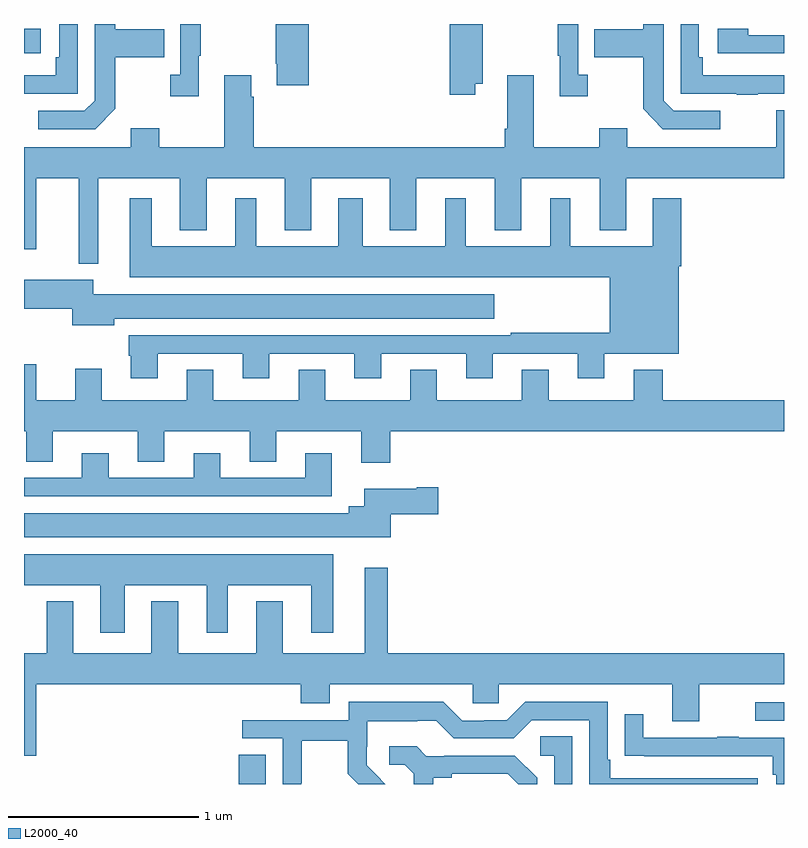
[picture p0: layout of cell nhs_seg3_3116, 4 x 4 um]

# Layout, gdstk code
import gdstk
lib = gdstk.Library(unit=1e-6, precision=1e-09)
def R(c, l, rs):  # rectangles x0, y0, x1, y1
    for r in rs: c.add(gdstk.rectangle(r[:2], r[2:], *l))
def P(c, l, *ps):  # polygons
    for p in ps: c.add(gdstk.Polygon(p, *l))
L2000_40 = (2000, 40)

nhs_seg3_3116 = lib.new_cell('nhs_seg3_3116')
R(nhs_seg3_3116, L2000_40, [(274.13,692.4,274.273,692.555), (276.849,692.733,277,692.829), (273,696.246,273.088,696.376)])
P(nhs_seg3_3116, L2000_40, [(274.499,696.4),(274.324,696.4),(274.324,696.19),(274.331,696.19),(274.331,696.078),(274.499,696.078)],
  [(275.968,696.134),(275.916,696.134),(275.916,696.4),(275.808,696.4),(275.808,696.233),(275.819,696.233),(275.819,696.021),(275.968,696.021)],
  [(276.664,695.943),(276.42,695.943),(276.366,695.997),(276.366,696.4),(276.258,696.4),(276.258,696.373),(276.001,696.373),(276.001,696.226),(276.258,696.226),(276.258,695.953),(276.363,695.847),(276.664,695.847)],
  [(276.863,696.033),(277,696.033),(277,696.129),(276.572,696.129),(276.572,696.226),(276.552,696.226),(276.552,696.4),(276.456,696.4),(276.456,696.033),(276.751,696.033),(276.751,696.028),(276.863,696.028)],
  [(275.374,696.086),(275.415,696.086),(275.415,696.4),(275.24,696.4),(275.24,696.027),(275.374,696.027)],
  [(273.919,696.233),(273.931,696.233),(273.931,696.4),(273.822,696.4),(273.822,696.134),(273.771,696.134),(273.771,696.021),(273.919,696.021)],
  [(273.481,695.953),(273.481,696.226),(273.737,696.226),(273.737,696.373),(273.481,696.373),(273.481,696.4),(273.372,696.4),(273.372,695.997),(273.318,695.943),(273.075,695.943),(273.075,695.847),(273.375,695.847)],
  [(273.282,696.4),(273.186,696.4),(273.186,696.226),(273.166,696.226),(273.166,696.129),(273,696.129),(273,696.033),(273.282,696.033)],
  [(277,696.342),(276.812,696.342),(276.812,696.376),(276.651,696.376),(276.651,696.246),(277,696.246)],
  [(273.391,695.588),(273.821,695.588),(273.821,695.315),(273.961,695.315),(273.961,695.588),(274.373,695.588),(274.373,695.315),(274.513,695.315),(274.513,695.588),(274.925,695.588),(274.925,695.315),(275.065,695.315),(275.065,695.588),(275.477,695.588),(275.477,695.315),(275.617,695.315),(275.617,695.588),(276.029,695.588),(276.029,695.315),(276.169,695.315),(276.169,695.588),(277,695.588),(277,695.947),(276.959,695.947),(276.959,695.752),(276.175,695.752),(276.175,695.851),(276.028,695.851),(276.028,695.752),(275.683,695.752),(275.683,696.13),(275.543,696.13),(275.543,695.848),(275.531,695.848),(275.531,695.752),(274.208,695.752),(274.208,696.017),(274.195,696.017),(274.195,696.13),(274.055,696.13),(274.055,695.752),(273.711,695.752),(273.711,695.851),(273.563,695.851),(273.563,695.752),(273,695.752),(273,695.214),(273.064,695.214),(273.064,695.588),(273.287,695.588),(273.287,695.251),(273.288,695.251),(273.288,695.139),(273.391,695.139)],
  [(273.703,694.665),(274.151,694.665),(274.151,694.536),(274.291,694.536),(274.291,694.665),(274.739,694.665),(274.739,694.536),(274.879,694.536),(274.879,694.665),(275.327,694.665),(275.327,694.536),(275.467,694.536),(275.467,694.665),(275.915,694.665),(275.915,694.536),(276.055,694.536),(276.055,694.664),(276.445,694.664),(276.445,695.126),(276.458,695.126),(276.458,695.482),(276.308,695.482),(276.308,695.23),(275.875,695.23),(275.875,695.482),(275.771,695.482),(275.771,695.23),(275.326,695.23),(275.326,695.482),(275.216,695.482),(275.216,695.23),(274.783,695.23),(274.783,695.482),(274.655,695.482),(274.655,695.23),(274.222,695.23),(274.222,695.482),(274.112,695.482),(274.112,695.23),(273.673,695.23),(273.673,695.482),(273.557,695.482),(273.557,695.066),(276.083,695.066),(276.083,694.774),(275.563,694.774),(275.563,694.761),(273.551,694.761),(273.551,694.653),(273.563,694.653),(273.563,694.536),(273.703,694.536)],
  [(273.475,694.85),(275.476,694.85),(275.476,694.978),(273.364,694.978),(273.364,695.053),(273,695.053),(273,694.901),(273.254,694.901),(273.254,694.814),(273.475,694.814)],
  [(274.928,694.256),(277,694.256),(277,694.42),(276.362,694.42),(276.362,694.579),(276.209,694.579),(276.209,694.42),(275.761,694.42),(275.761,694.58),(275.621,694.58),(275.621,694.42),(275.173,694.42),(275.173,694.58),(275.033,694.58),(275.033,694.42),(274.585,694.42),(274.585,694.58),(274.445,694.58),(274.445,694.42),(273.997,694.42),(273.997,694.58),(273.857,694.58),(273.857,694.42),(273.409,694.42),(273.409,694.585),(273.269,694.585),(273.269,694.42),(273.064,694.42),(273.064,694.609),(273,694.609),(273,694.256),(273.011,694.256),(273.011,694.096),(273.151,694.096),(273.151,694.256),(273.599,694.256),(273.599,694.096),(273.739,694.096),(273.739,694.256),(274.187,694.256),(274.187,694.096),(274.327,694.096),(274.327,694.256),(274.775,694.256),(274.775,694.092),(274.928,694.092)],
  [(274.621,694.141),(274.481,694.141),(274.481,694.011),(274.033,694.011),(274.033,694.141),(273.893,694.141),(273.893,694.011),(273.445,694.011),(273.445,694.141),(273.305,694.141),(273.305,694.011),(273,694.011),(273,693.915),(274.621,693.915)],
  [(274.93,693.821),(275.179,693.821),(275.179,693.963),(275.066,693.963),(275.066,693.955),(274.79,693.955),(274.79,693.862),(274.709,693.862),(274.709,693.826),(273,693.826),(273,693.698),(274.93,693.698)],
  [(273.529,693.446),(273.962,693.446),(273.962,693.195),(274.072,693.195),(274.072,693.446),(274.511,693.446),(274.511,693.195),(274.627,693.195),(274.627,693.61),(273,693.61),(273,693.446),(273.401,693.446),(273.401,693.195),(273.529,693.195)],
  [(274.915,693.538),(274.793,693.538),(274.793,693.088),(274.363,693.088),(274.363,693.361),(274.223,693.361),(274.223,693.088),(273.811,693.088),(273.811,693.361),(273.671,693.361),(273.671,693.088),(273.259,693.088),(273.259,693.361),(273.119,693.361),(273.119,693.088),(273,693.088),(273,692.55),(273.064,692.55),(273.064,692.924),(274.457,692.924),(274.457,692.825),(274.609,692.825),(274.609,692.924),(275.361,692.924),(275.361,692.826),(275.499,692.826),(275.499,692.924),(276.413,692.924),(276.413,692.73),(276.553,692.73),(276.553,692.924),(277,692.924),(277,693.088),(274.915,693.088)],
  [(274.458,692.404),(274.461,692.404),(274.461,692.628),(274.705,692.628),(274.705,692.453),(274.758,692.4),(274.9,692.4),(274.877,692.423),(274.878,692.424),(274.804,692.498),(274.804,692.595),(274.806,692.595),(274.806,692.729),(275.069,692.729),(275.069,692.733),(275.169,692.733),(275.262,692.64),(275.577,692.64),(275.673,692.736),(275.976,692.736),(275.976,692.4),(276.862,692.4),(276.862,692.43),(276.085,692.43),(276.085,692.527),(276.072,692.527),(276.072,692.832),(275.637,692.832),(275.541,692.736),(275.423,692.736),(275.423,692.733),(275.307,692.733),(275.207,692.833),(274.71,692.833),(274.71,692.736),(274.149,692.736),(274.149,692.64),(274.362,692.64),(274.362,692.4),(274.458,692.4)],
  [(277,692.643),(276.761,692.643),(276.761,692.648),(276.649,692.648),(276.649,692.643),(276.259,692.643),(276.259,692.767),(276.163,692.767),(276.163,692.548),(276.265,692.548),(276.265,692.547),(276.94,692.547),(276.94,692.45),(276.96,692.45),(276.96,692.4),(277,692.4)],
  [(275.886,692.651),(275.718,692.651),(275.718,692.55),(275.79,692.55),(275.79,692.4),(275.886,692.4)],
  [(275.155,692.432),(275.251,692.432),(275.251,692.454),(275.546,692.454),(275.6,692.4),(275.7,692.4),(275.7,692.434),(275.584,692.55),(275.212,692.55),(275.212,692.547),(275.118,692.547),(275.066,692.599),(274.923,692.599),(274.923,692.502),(275.004,692.502),(275.051,692.455),(275.051,692.4),(275.155,692.4)])

lib.write_gds('nhs_seg3_3116.gds')
